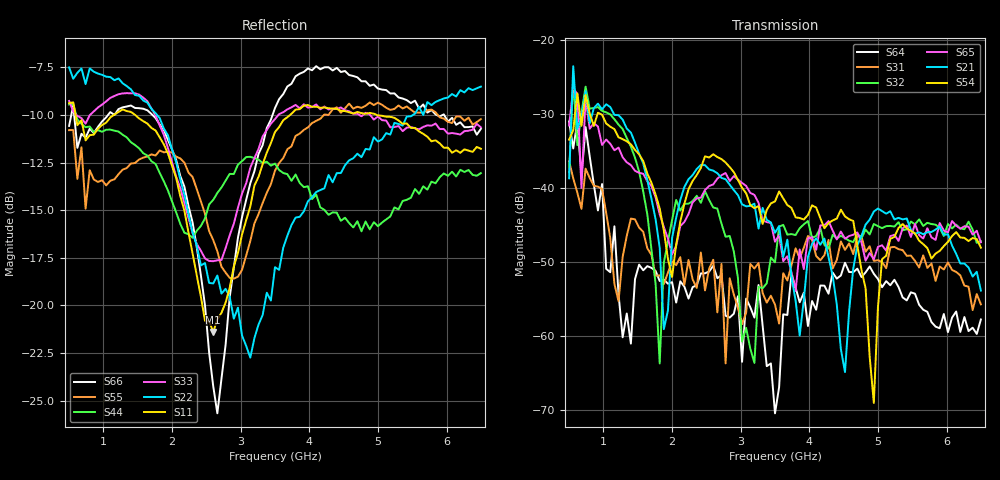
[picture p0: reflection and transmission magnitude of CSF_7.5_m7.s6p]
!Keysight Technologies,M9804A,MY58100912,A.14.10.03
!Date: Thursday, April 27, 2023 10:28:33
!Correction: S11(C  6-Port  )
!S12(C  6-Port  )
!S13(C  6-Port  )
!S14(C  6-Port  )
!S15(C  6-Port  )
!S16(C  6-Port  )
!S21(C  6-Port  )
!S22(C  6-Port  )
!S23(C  6-Port  )
!S24(C  6-Port  )
!S25(C  6-Port  )
!S26(C  6-Port  )
!S31(C  6-Port  )
!S32(C  6-Port  )
!S33(C  6-Port  )
!S34(C  6-Port  )
!S35(C  6-Port  )
!S36(C  6-Port  )
!S41(C  6-Port  )
!S42(C  6-Port  )
!S43(C  6-Port  )
!S44(C  6-Port  )
!S45(C  6-Port  )
!S46(C  6-Port  )
!S51(C  6-Port  )
!S52(C  6-Port  )
!S53(C  6-Port  )
!S54(C  6-Port  )
!S55(C  6-Port  )
!S56(C  6-Port  )
!S61(C  6-Port  )
!S62(C  6-Port  )
!S63(C  6-Port  )
!S64(C  6-Port  )
!S65(C  6-Port  )
!S66(C  6-Port  )
!S6P File: Measurement: :
# Hz S  RI  R 50
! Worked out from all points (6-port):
!   101 points, 500 MHz to 6.5 GHz, reference 50 ohm
!   strongest paths, dB at 500 MHz, 2 GHz, 3.5 GHz, 5 GHz, 6.5 GHz:
!     S54: -33.5, -52.0, -41.8, -56.1, -48.1
!     S21: -38.7, -46.8, -46.1, -42.8, -53.9
!     S65: -31.6, -49.0, -47.3, -48.0, -47.4
!     S32: -37.9, -44.4, -50.1, -45.2, -47.2
!     S31: -36.4, -50.0, -55.8, -49.8, -55.7
!     S64: -31.0, -52.7, -70.5, -52.3, -57.8
!   lowest |S11| = -21.4 dB at 2.6 GHz (marker M1), VSWR 1.19, Z = 42.5 + j2.27 ohm
!   |S11| at or under -10 dB: 593.4 MHz to 1.149 GHz (556.1 MHz wide, 63.8 % of centre); 1.464 GHz to 3.718 GHz (2.254 GHz wide, 87 % of centre); 4.988 GHz to end of sweep
